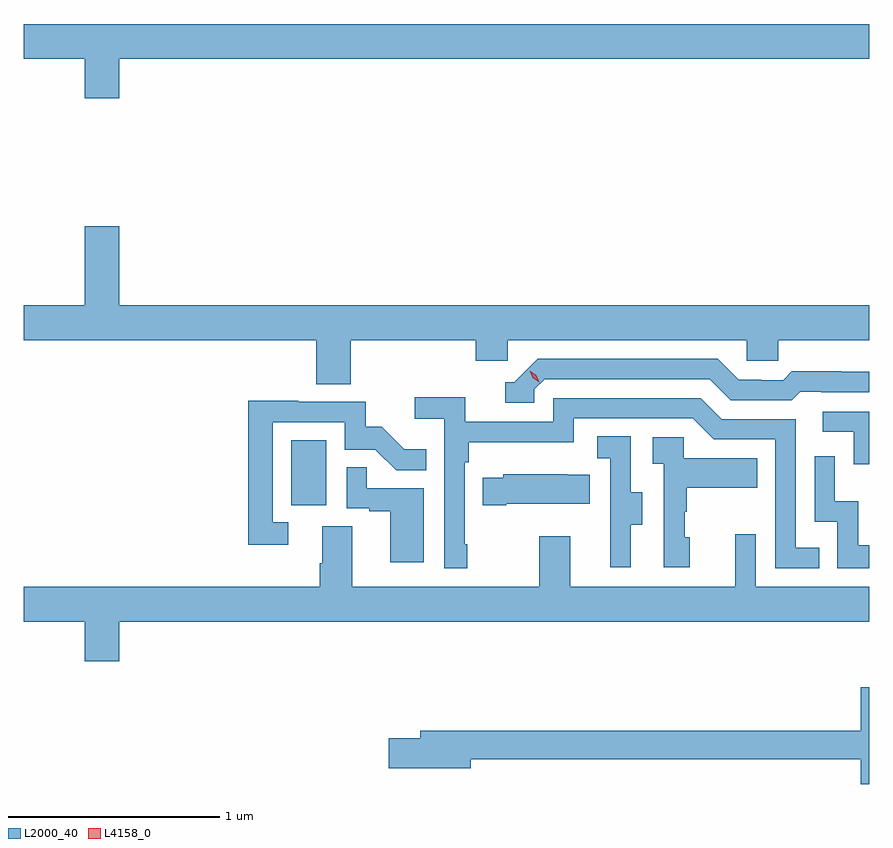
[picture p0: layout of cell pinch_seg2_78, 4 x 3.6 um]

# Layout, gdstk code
import gdstk
lib = gdstk.Library(unit=1e-6, precision=1e-09)
def R(c, l, rs):  # rectangles x0, y0, x1, y1
    for r in rs: c.add(gdstk.rectangle(r[:2], r[2:], *l))
def P(c, l, *ps):  # polygons
    for p in ps: c.add(gdstk.Polygon(p, *l))
L2000_40 = (2000, 40)
L4158_0 = (4158, 0)

pinch_seg2_78 = lib.new_cell('pinch_seg2_78')
R(pinch_seg2_78, L2000_40, [(1053.098,657.51,1053.262,657.817)])
P(pinch_seg2_78, L2000_40, [(1052.284,659.624),(1055.832,659.624),(1055.832,659.788),(1051.832,659.788),(1051.832,659.624),(1052.12,659.624),(1052.12,659.436),(1052.284,659.436)],
  [(1053.38,658.292),(1053.971,658.292),(1053.971,658.194),(1054.122,658.194),(1054.122,658.292),(1055.253,658.292),(1055.253,658.194),(1055.403,658.194),(1055.403,658.292),(1055.832,658.292),(1055.832,658.456),(1052.284,658.456),(1052.284,658.831),(1052.12,658.831),(1052.12,658.456),(1051.832,658.456),(1051.832,658.292),(1053.215,658.292),(1053.215,658.084),(1053.38,658.084)],
  [(1054.248,658.059),(1054.296,658.107),(1055.079,658.107),(1055.178,658.008),(1055.467,658.008),(1055.506,658.047),(1055.605,658.047),(1055.605,658.044),(1055.832,658.044),(1055.832,658.141),(1055.7,658.141),(1055.7,658.144),(1055.467,658.144),(1055.425,658.101),(1055.322,658.101),(1055.322,658.104),(1055.215,658.104),(1055.116,658.203),(1054.263,658.203),(1054.152,658.092),(1054.109,658.092),(1054.109,657.996),(1054.248,657.996)],
  [(1053.931,657.325),(1053.918,657.325),(1053.918,657.713),(1053.938,657.713),(1053.938,657.809),(1054.434,657.809),(1054.434,657.921),(1054.998,657.921),(1055.097,657.822),(1055.388,657.822),(1055.388,657.213),(1055.597,657.213),(1055.597,657.309),(1055.484,657.309),(1055.484,657.918),(1055.134,657.918),(1055.035,658.017),(1054.338,658.017),(1054.338,657.906),(1053.92,657.906),(1053.92,658.022),(1053.681,658.022),(1053.681,657.92),(1053.822,657.92),(1053.822,657.213),(1053.931,657.213)],
  [(1053.082,657.429),(1053.009,657.429),(1053.009,657.903),(1053.351,657.903),(1053.351,657.774),(1053.495,657.774),(1053.593,657.676),(1053.737,657.676),(1053.737,657.775),(1053.633,657.775),(1053.526,657.882),(1053.45,657.882),(1053.45,657.999),(1053.131,657.999),(1053.131,658.004),(1052.893,658.004),(1052.893,657.324),(1053.082,657.324)],
  [(1055.832,657.954),(1055.613,657.954),(1055.613,657.858),(1055.76,657.858),(1055.76,657.705),(1055.832,657.705)],
  [(1054.705,657.418),(1054.759,657.418),(1054.759,657.573),(1054.704,657.573),(1054.704,657.836),(1054.545,657.836),(1054.545,657.733),(1054.608,657.733),(1054.608,657.429),(1054.607,657.429),(1054.607,657.216),(1054.705,657.216)],
  [(1054.984,657.36),(1054.959,657.36),(1054.959,657.479),(1054.969,657.479),(1054.969,657.593),(1055.303,657.593),(1055.303,657.733),(1054.956,657.733),(1054.956,657.831),(1054.809,657.831),(1054.809,657.707),(1054.86,657.707),(1054.86,657.216),(1054.984,657.216)],
  [(1055.832,657.322),(1055.78,657.322),(1055.78,657.53),(1055.67,657.53),(1055.67,657.742),(1055.574,657.742),(1055.574,657.432),(1055.682,657.432),(1055.682,657.213),(1055.832,657.213)],
  [(1053.724,657.591),(1053.455,657.591),(1053.455,657.689),(1053.36,657.689),(1053.36,657.495),(1053.467,657.495),(1053.467,657.483),(1053.566,657.483),(1053.566,657.24),(1053.724,657.24)],
  [(1054.114,657.518),(1054.511,657.518),(1054.511,657.655),(1054.403,657.655),(1054.403,657.658),(1054.101,657.658),(1054.101,657.64),(1054.003,657.64),(1054.003,657.511),(1054.114,657.511)],
  [(1055.832,657.124),(1055.295,657.124),(1055.295,657.373),(1055.198,657.373),(1055.198,657.124),(1054.417,657.124),(1054.417,657.364),(1054.27,657.364),(1054.27,657.124),(1053.385,657.124),(1053.385,657.41),(1053.245,657.41),(1053.245,657.236),(1053.233,657.236),(1053.233,657.124),(1051.832,657.124),(1051.832,656.96),(1052.12,656.96),(1052.12,656.772),(1052.284,656.772),(1052.284,656.96),(1055.832,656.96)],
  [(1055.832,656.649),(1055.792,656.649),(1055.792,656.444),(1053.707,656.444),(1053.707,656.408),(1053.558,656.408),(1053.558,656.266),(1053.946,656.266),(1053.946,656.308),(1055.792,656.308),(1055.792,656.191),(1055.832,656.191)])
P(pinch_seg2_78, L4158_0, [(1054.271,658.093),(1054.241,658.113),(1054.226,658.146),(1054.226,658.146),(1054.227,658.146),(1054.257,658.126),(1054.272,658.093),(1054.272,658.093)])

lib.write_gds('pinch_seg2_78.gds')
